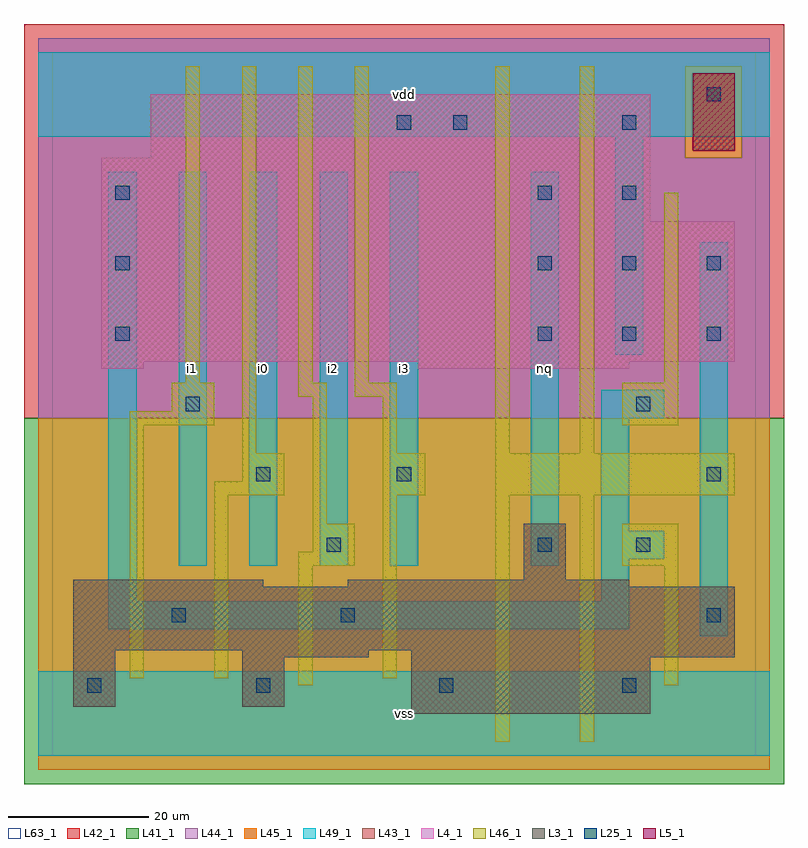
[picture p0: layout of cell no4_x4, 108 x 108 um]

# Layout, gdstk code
import gdstk
lib = gdstk.Library(unit=1e-6, precision=1e-09)
def R(c, l, rs):  # rectangles x0, y0, x1, y1
    for r in rs: c.add(gdstk.rectangle(r[:2], r[2:], *l))
def A(c, l, x, y, w, h, nx, ny, dx, dy):  # array of equal rectangles
    R(c, l, [(x+i*dx, y+j*dy, x+i*dx+w, y+j*dy+h) for i in range(nx) for j in range(ny)])
L3_1 = (3, 1)
L4_1 = (4, 1)
L5_1 = (5, 1)
L25_1 = (25, 1)
L41_1 = (41, 1)
L42_1 = (42, 1)
L43_1 = (43, 1)
L44_1 = (44, 1)
L45_1 = (45, 1)
L46_1 = (46, 1)
L49_1 = (49, 1)
L63_1 = (63, 1)

no4_x4 = lib.new_cell('no4_x4')
R(no4_x4, L3_1, [(51,6,85,14), (3,7,9,15), (27,7,33,14), (27,14,45,15), (51,14,97,15), (3,15,97,24), (3,24,30,25), (42,24,82,25), (67,25,73,33)])
R(no4_x4, L4_1, [(7,55,13,56), (52,55,82,56), (7,56,97,76), (7,76,85,85), (14,85,85,94)])
R(no4_x4, L5_1, [(91,86,97,97)])
A(no4_x4, L25_1, 29, 9, 2, 2, 3, 1, 26, 0)
A(no4_x4, L25_1, 9, 59, 2, 2, 1, 3, 0, 10)
A(no4_x4, L25_1, 69, 59, 2, 2, 3, 2, 12, 10)
R(no4_x4, L25_1, [(5,9,7,11), (17,19,19,21), (41,19,43,21), (93,19,95,21), (39,29,41,31), (69,29,71,31), (83,29,85,31), (29,39,31,41), (49,39,51,41), (93,39,95,41), (19,49,21,51), (83,49,85,51), (69,79,71,81), (81,79,83,81), (49,89,51,91), (57,89,59,91), (81,89,83,91), (93,93,95,95)])
R(no4_x4, L41_1, [(-4,-4,104,48)])
R(no4_x4, L42_1, [(-4,48,104,104)])
R(no4_x4, L43_1, [(51,6,85,14), (3,7,9,15), (27,7,33,14), (27,14,45,15), (51,14,97,15), (3,15,97,24), (3,24,30,25), (42,24,82,25), (67,25,73,33), (7,55,13,56), (52,55,82,56), (7,56,97,76), (7,76,85,85), (14,85,85,94), (91,86,97,97)])
R(no4_x4, L44_1, [(-2,48,102,85), (-2,85,90,98), (98,85,102,98), (-2,98,102,102)])
R(no4_x4, L45_1, [(-2,-2,102,48), (90,85,98,98)])
R(no4_x4, L46_1, [(63,2,65,37), (75,2,77,37), (35,10,37,27), (87,10,89,27), (11,11,13,47), (23,11,25,37), (47,11,49,37), (35,27,43,29), (81,27,89,33), (37,29,43,33), (37,33,39,51), (23,37,33,39), (47,37,53,43), (63,37,97,43), (27,39,33,43), (27,43,29,98), (47,43,49,51), (63,43,65,98), (75,43,77,98), (11,47,23,49), (81,47,89,53), (17,49,23,53), (35,51,39,53), (43,51,49,53), (19,53,21,98), (35,53,37,98), (43,53,45,98), (87,53,89,80)])
A(no4_x4, L49_1, 18, 27, 4, 56, 4, 1, 10, 0)
R(no4_x4, L49_1, [(-2,0,102,12), (92,17,96,73), (8,18,82,22), (8,22,12,83), (78,22,82,28), (68,27,72,83), (78,28,87,32), (78,32,82,48), (78,48,87,52), (80,57,84,88), (-2,88,102,100)])
R(no4_x4, L63_1, [(0,0,100,100)])
no4_x4.add(gdstk.Label('i1', (20,55), layer=49, texttype=1))
no4_x4.add(gdstk.Label('i0', (30,55), layer=49, texttype=1))
no4_x4.add(gdstk.Label('i2', (40,55), layer=49, texttype=1))
no4_x4.add(gdstk.Label('vss', (50,6), layer=49, texttype=1))
no4_x4.add(gdstk.Label('i3', (50,55), layer=49, texttype=1))
no4_x4.add(gdstk.Label('nq', (70,55), layer=49, texttype=1))
no4_x4.add(gdstk.Label('vdd', (50,94), layer=49, texttype=1))

lib.write_gds('no4_x4.gds')
